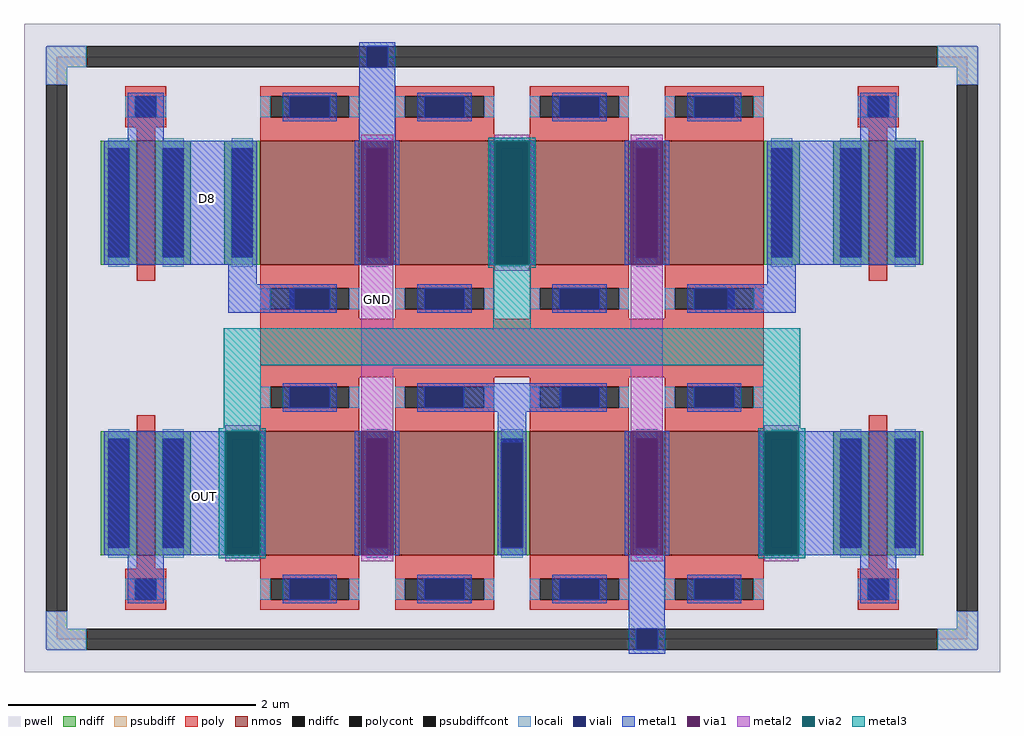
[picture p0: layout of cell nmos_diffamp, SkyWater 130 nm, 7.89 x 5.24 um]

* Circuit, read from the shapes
.subckt nmos_diffamp GND OUT D8
XM1 OUT OUT OUT GND sky130_fd_pr__nfet_01v8 w=1 l=0.15 m=2
XM2 D8 D8 D8 GND sky130_fd_pr__nfet_01v8 w=1 l=0.15 m=2
XM3 GND D8 OUT GND sky130_fd_pr__nfet_01v8 w=1 l=0.8 m=4
XM4 GND D8 D8 GND sky130_fd_pr__nfet_01v8 w=1 l=0.8 m=4
.ends

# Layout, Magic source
magic
tech sky130A
magscale 1 2
<< pwell >>
rect -324 476 1254 512
rect -324 -500 -288 476
rect -271 -483 1201 459
rect 1218 -500 1254 476
rect -324 -536 1254 -500
<< psubdiff >>
rect -288 442 -223 476
rect 1153 442 1218 476
rect -288 414 -254 442
rect 1184 414 1218 442
rect -288 -466 -254 -438
rect 1184 -466 1218 -438
rect -288 -500 -223 -466
rect 1153 -500 1218 -466
<< psubdiffcont >>
rect -223 442 1153 476
rect -288 -438 -254 414
rect 1184 -438 1218 414
rect -223 -500 1153 -466
<< poly >>
rect 58 -59 872 35
<< locali >>
rect -288 442 -223 476
rect 1153 442 1218 476
rect -288 414 -254 442
rect -288 -466 -254 -438
rect 1184 414 1218 442
rect 1184 -466 1218 -438
rect -288 -500 -223 -466
rect 1153 -500 1218 -466
<< viali >>
rect 230 442 264 476
rect 666 -500 701 -466
<< metal1 >>
rect 218 476 276 482
rect 218 442 230 476
rect 264 442 276 476
rect -156 323 -98 401
rect 218 323 276 442
rect 1028 323 1086 401
rect -194 123 52 323
rect 211 123 221 323
rect 273 123 283 323
rect 429 123 439 323
rect 491 123 501 323
rect 647 123 657 323
rect 709 123 719 323
rect 878 123 1124 323
rect 6 91 52 123
rect 878 91 924 123
rect 6 45 113 91
rect 814 45 924 91
rect 386 -115 545 -69
rect -194 -347 3 -147
rect 55 -347 65 -147
rect 211 -347 221 -147
rect 273 -347 283 -147
rect 442 -164 488 -115
rect 647 -347 657 -147
rect 709 -347 719 -147
rect 865 -347 875 -147
rect 927 -347 1124 -147
rect -156 -425 -98 -347
rect 654 -460 712 -347
rect 1028 -425 1086 -347
rect 654 -466 713 -460
rect 654 -500 666 -466
rect 701 -500 713 -466
rect 654 -506 713 -500
<< via1 >>
rect 221 123 273 323
rect 439 123 491 323
rect 657 123 709 323
rect 3 -347 55 -147
rect 221 -347 273 -147
rect 657 -347 709 -147
rect 875 -347 927 -147
<< metal2 >>
rect 221 323 273 333
rect 221 20 273 123
rect 437 323 493 333
rect 437 113 493 123
rect 657 323 709 333
rect 657 20 709 123
rect 221 -45 709 20
rect 1 -147 57 -137
rect 1 -357 57 -347
rect 221 -147 273 -45
rect 221 -357 273 -347
rect 657 -147 709 -45
rect 657 -357 709 -347
rect 873 -147 929 -137
rect 873 -357 929 -347
<< via2 >>
rect 437 123 439 323
rect 439 123 491 323
rect 491 123 493 323
rect 1 -347 3 -147
rect 3 -347 55 -147
rect 55 -347 57 -147
rect 873 -347 875 -147
rect 875 -347 927 -147
rect 927 -347 929 -147
<< metal3 >>
rect 427 323 503 328
rect 427 123 437 323
rect 493 123 503 323
rect 427 118 503 123
rect 435 20 495 118
rect -1 -40 931 20
rect -1 -142 59 -40
rect 871 -142 931 -40
rect -9 -147 67 -142
rect -9 -347 1 -147
rect 57 -347 67 -147
rect -9 -352 67 -347
rect 863 -147 939 -142
rect 863 -347 873 -147
rect 929 -347 939 -147
rect 863 -352 939 -347
use sky130_fd_pr__nfet_01v8_59MFY5  sky130_fd_pr__nfet_01v8_59MFY5_0
transform 1 0 1057 0 1 -278
box -73 -157 73 157
use sky130_fd_pr__nfet_01v8_59MFY5  sky130_fd_pr__nfet_01v8_59MFY5_1
transform 1 0 -127 0 1 -278
box -73 -157 73 157
use sky130_fd_pr__nfet_01v8_DXNGQZ  sky130_fd_pr__nfet_01v8_DXNGQZ_0
transform 1 0 465 0 1 223
box -465 -188 465 188
use sky130_fd_pr__nfet_01v8_DXNGQZ  sky130_fd_pr__nfet_01v8_DXNGQZ_1
transform 1 0 465 0 1 -247
box -465 -188 465 188
use sky130_fd_pr__nfet_01v8_UPT43B  sky130_fd_pr__nfet_01v8_UPT43B_0
transform 1 0 -127 0 1 254
box -73 -157 73 157
use sky130_fd_pr__nfet_01v8_UPT43B  sky130_fd_pr__nfet_01v8_UPT43B_1
transform 1 0 1057 0 1 254
box -73 -157 73 157
<< labels >>
flabel metal1 -32 -252 -32 -252 0 FreeSans 160 0 0 0 OUT
port 1 nsew
flabel metal1 -27 229 -27 229 0 FreeSans 160 0 0 0 D8
port 2 nsew
flabel metal2 247 67 247 67 0 FreeSans 160 0 0 0 GND
port 0 nsew
<< end >>

# cell sky130_fd_pr__nfet_01v8_59MFY5: kit device sky130_fd_pr__nfet_01v8, w 1 l 0.150 m 1 nf 1 diffcov 100 polycov 100 guard 0 glc 1 grc 1 gtc 1 gbc 1 tbcov 100 rlcov 100 topc 0 botc 1 poverlap 0 doverlap 1 lmin 0.15 wmin 0.42 compatible {sky130_fd_pr__nfet_01v8 sky130_fd_pr__nfet_01v8_lvt sky130_fd_bs_flash__special_sonosfet_star sky130_fd_pr__nfet_g5v0d10v5 sky130_fd_pr__nfet_05v0_nvt sky130_fd_pr__nfet_03v3_nvt} full_metal 1 viasrc 100 viadrn 100 viagate 100 viagb 0 viagr 0 viagl 0 viagt 0

# cell sky130_fd_pr__nfet_01v8_DXNGQZ: kit device sky130_fd_pr__nfet_01v8, w 1 l 0.8 m 1 nf 4 diffcov 100 polycov 100 guard 0 glc 1 grc 1 gtc 1 gbc 1 tbcov 100 rlcov 100 topc 1 botc 1 poverlap 0 doverlap 1 lmin 0.15 wmin 0.42 compatible {sky130_fd_pr__nfet_01v8 sky130_fd_pr__nfet_01v8_lvt sky130_fd_bs_flash__special_sonosfet_star sky130_fd_pr__nfet_g5v0d10v5 sky130_fd_pr__nfet_05v0_nvt sky130_fd_pr__nfet_03v3_nvt} full_metal 1 viasrc 100 viadrn 100 viagate 50 viagb 0 viagr 0 viagl 0 viagt 0

# cell sky130_fd_pr__nfet_01v8_UPT43B: kit device sky130_fd_pr__nfet_01v8, w 1 l 0.150 m 1 nf 1 diffcov 100 polycov 100 guard 0 glc 1 grc 1 gtc 1 gbc 1 tbcov 100 rlcov 100 topc 1 botc 0 poverlap 0 doverlap 1 lmin 0.15 wmin 0.42 compatible {sky130_fd_pr__nfet_01v8 sky130_fd_pr__nfet_01v8_lvt sky130_fd_bs_flash__special_sonosfet_star sky130_fd_pr__nfet_g5v0d10v5 sky130_fd_pr__nfet_05v0_nvt sky130_fd_pr__nfet_03v3_nvt} full_metal 1 viasrc 100 viadrn 100 viagate 100 viagb 0 viagr 0 viagl 0 viagt 0
